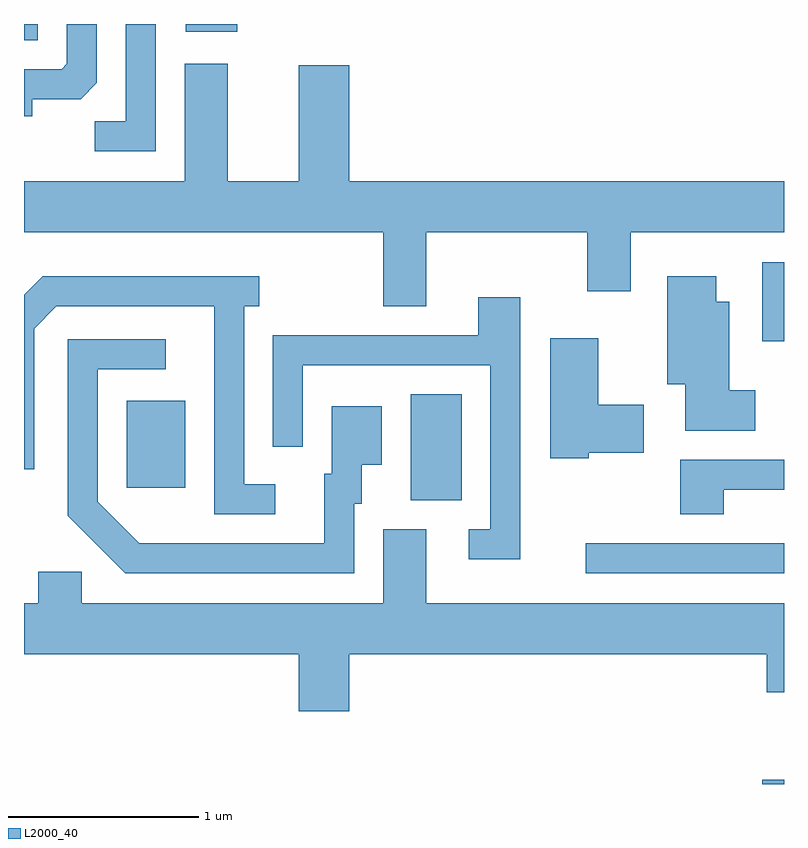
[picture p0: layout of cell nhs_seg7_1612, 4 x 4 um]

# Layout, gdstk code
import gdstk
lib = gdstk.Library(unit=1e-6, precision=1e-09)
def R(c, l, rs):  # rectangles x0, y0, x1, y1
    for r in rs: c.add(gdstk.rectangle(r[:2], r[2:], *l))
def P(c, l, *ps):  # polygons
    for p in ps: c.add(gdstk.Polygon(p, *l))
L2000_40 = (2000, 40)

nhs_seg7_1612 = lib.new_cell('nhs_seg7_1612')
R(nhs_seg7_1612, L2000_40, [(237.496,1760.252,237.611,1760.274), (236.568,1761.361,237.611,1761.519), (235.646,1761.746,235.914,1762.304), (234.151,1761.811,234.459,1762.269), (237.496,1762.581,237.611,1762.999), (233.611,1764.166,233.684,1764.252), (234.461,1764.211,234.734,1764.252)])
P(nhs_seg7_1612, L2000_40, [(233.654,1763.856),(233.909,1763.856),(233.994,1763.942),(233.994,1764.252),(233.836,1764.252),(233.836,1764.042),(233.809,1764.014),(233.611,1764.014),(233.611,1763.766),(233.654,1763.766)],
  [(234.304,1764.252),(234.146,1764.252),(234.146,1763.739),(233.983,1763.739),(233.983,1763.581),(234.304,1763.581)],
  [(235.729,1763.156),(236.576,1763.156),(236.576,1762.846),(236.804,1762.846),(236.804,1763.156),(237.611,1763.156),(237.611,1763.424),(235.324,1763.424),(235.324,1764.034),(235.056,1764.034),(235.056,1763.424),(234.684,1763.424),(234.684,1764.044),(234.456,1764.044),(234.456,1763.424),(233.611,1763.424),(233.611,1763.156),(235.501,1763.156),(235.501,1762.766),(235.729,1762.766)],
  [(237.459,1762.324),(237.324,1762.324),(237.324,1762.789),(237.254,1762.789),(237.254,1762.924),(236.996,1762.924),(236.996,1762.356),(237.091,1762.356),(237.091,1762.111),(237.459,1762.111)],
  [(234.933,1761.829),(234.769,1761.829),(234.769,1762.766),(234.848,1762.766),(234.848,1762.924),(233.709,1762.924),(233.611,1762.826),(233.611,1761.908),(233.664,1761.908),(233.664,1762.649),(233.782,1762.766),(234.611,1762.766),(234.611,1761.671),(234.933,1761.671)],
  [(236.224,1762.814),(236.001,1762.814),(236.001,1762.614),(234.921,1762.614),(234.921,1762.028),(235.079,1762.028),(235.079,1762.456),(236.066,1762.456),(236.066,1761.594),(235.953,1761.594),(235.953,1761.436),(236.224,1761.436)],
  [(236.584,1761.996),(236.874,1761.996),(236.874,1762.249),(236.634,1762.249),(236.634,1762.599),(236.381,1762.599),(236.381,1761.966),(236.584,1761.966)],
  [(235.349,1761.726),(235.389,1761.726),(235.389,1761.931),(235.494,1761.931),(235.494,1762.239),(235.231,1762.239),(235.231,1761.884),(235.191,1761.884),(235.191,1761.519),(234.217,1761.519),(233.999,1761.737),(233.999,1762.436),(234.358,1762.436),(234.358,1762.594),(233.841,1762.594),(233.841,1761.664),(234.144,1761.361),(235.349,1761.361)],
  [(237.294,1761.801),(237.611,1761.801),(237.611,1761.959),(237.066,1761.959),(237.066,1761.671),(237.294,1761.671)],
  [(235.324,1760.936),(237.521,1760.936),(237.521,1760.736),(237.611,1760.736),(237.611,1761.204),(235.729,1761.204),(235.729,1761.594),(235.501,1761.594),(235.501,1761.204),(233.914,1761.204),(233.914,1761.369),(233.686,1761.369),(233.686,1761.204),(233.611,1761.204),(233.611,1760.936),(235.056,1760.936),(235.056,1760.636),(235.324,1760.636)])

lib.write_gds('nhs_seg7_1612.gds')
